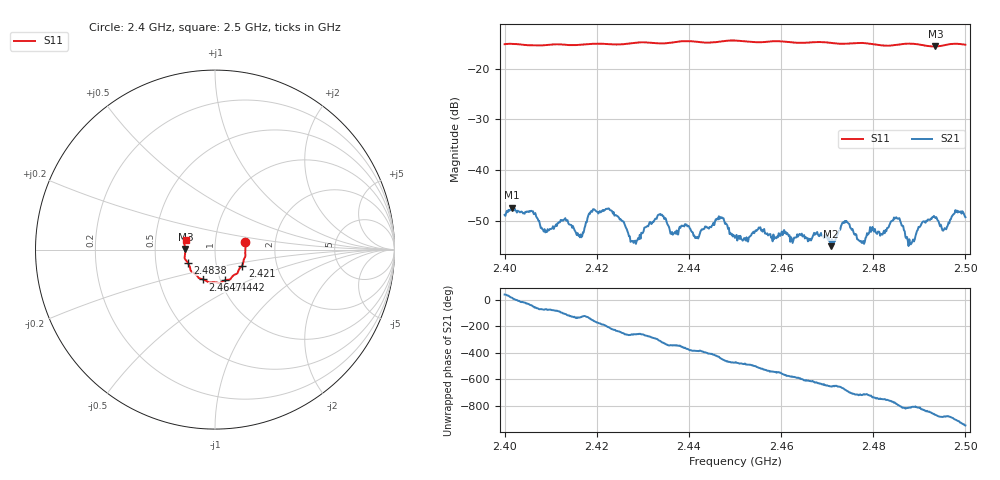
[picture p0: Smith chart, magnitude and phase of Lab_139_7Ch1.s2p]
# Hz S RI R 50
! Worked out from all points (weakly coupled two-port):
!   601 points, 2.4 GHz to 2.5 GHz, reference 50 ohm
!   highest |S21| = -47.45 dB at 2.4017 GHz (marker M1); lowest = -55.1 dB at 2.4708 GHz (marker M2)
!   lowest |S11| = -15.7 dB at 2.4935 GHz (marker M3), VSWR 1.40, Z = 35.8 + j0.207 ohm
!   |S11| at or under -10 dB: start of sweep to end of sweep
!   S12 and S22 are empty: the file has one direction only
!   S11 on the Smith chart (normalised r, x): 2.4 GHz: 1.40, +0.12; 2.421 GHz: 1.33, -0.24; 2.4442 GHz: 1.05, -0.37; 2.4647 GHz: 0.83, -0.28; 2.4838 GHz: 0.73, -0.11; 2.5 GHz: 0.72, +0.08
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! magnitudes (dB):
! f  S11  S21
! 2.4 GHz  -15.2  -48.9
! 2.4017 GHz  -15.1  -47.5
! 2.4167 GHz  -15.3  -53.3
! 2.4187 GHz  -15.1  -48.3
! 2.421 GHz  -15.1  -48.3
! 2.428 GHz  -15.0  -54.4
! 2.4333 GHz  -15.0  -48.9
! 2.4365 GHz  -14.9  -52.8
! 2.4442 GHz  -14.9  -51.4
! 2.447 GHz  -14.7  -49.5
! 2.45 GHz  -14.5  -53.4
! 2.4647 GHz  -14.9  -53.2
! 2.4667 GHz  -14.8  -53.6
! 2.4708 GHz  -14.9  -55.1
! 2.4738 GHz  -15.1  -50.1
! 2.4777 GHz  -15.0  -54.4
! 2.4833 GHz  -15.5  -51.3
! 2.4838 GHz  -15.5  -50.2
! 2.488 GHz  -15.1  -54.6
! 2.4935 GHz  -15.7  -49.5
! 2.4953 GHz  -15.4  -51.8
! 2.5 GHz  -15.3  -49.3
